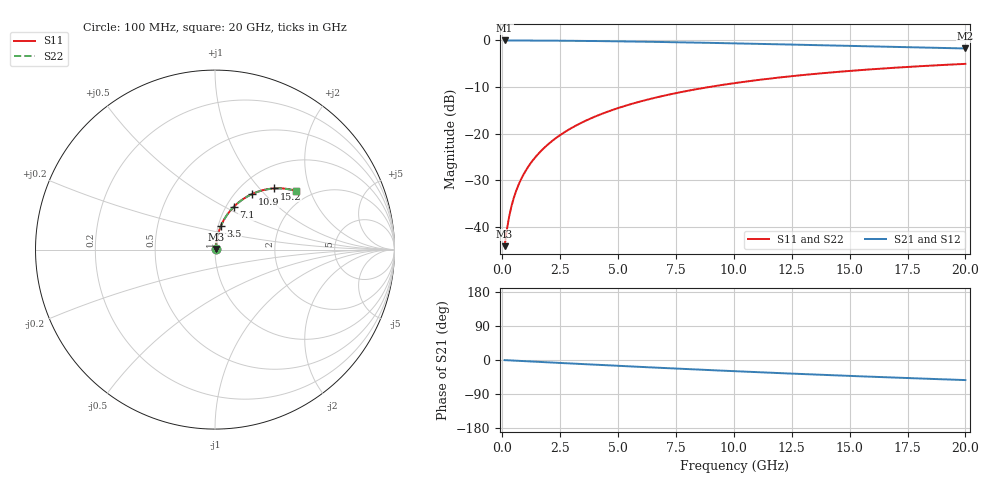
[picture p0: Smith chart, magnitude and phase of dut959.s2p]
! Touchstone file exported from HFSS 2026.1.0
!  File:  C:/ffzhzh/LocalFiles/Ansys_Project_Files/temp_train_BSMRDL_959_1783172382_51560.aedt
!  Generated:  09:40:56 PM Jul  4, 2026
!  Design:  BSMRDL
!  Project:  temp_train_BSMRDL_959_1783172382_51560
! Variables:
!  h_bsmrdl = 3.73um
!  h_ox = 20um
!  h_rdl = 5um
!  h_sub = 80um
!  h_tmrdl = 5um
!  h_tsv = 80um
!  h_via = 3um
!  l_bsmrdl = 735.88um
!  l_sub = 1135.88um
!  l_tmrdl = 200um
!  m_sub = 200um
!  pitch = 55.18um
!  r_tsv = 6um
!  s_tmrdl = 10um
!  w_bsmrdl = 15.16um
!  w_sub = 500um
!  w_tmrdl = 12um
!  x_tsv_center1 = 206um
!  x_tsv_center2 = 957.04um
!  x_tsv_center3 = 1169.04um
!  x_tsv_center4 = 1920.08um
!  x_tsv_center5 = 2132.08um
!  x_tsv_center6 = 2883.12um
# GHz S MA R 50.000000
! Terminal data exported
! Port[1] = BSM_RDL1_1_T1
! Port[2] = BSM_RDL1_1_T2
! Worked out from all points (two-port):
!   200 points, 100 MHz to 20 GHz, reference 50 ohm
!   highest |S21| = -0.04 dB at 100 MHz (marker M1); lowest = -1.8 dB at 20 GHz (marker M2)
!   |S21| within 3 dB of the highest: start of sweep to end of sweep
!   lowest |S11| = -44.2 dB at 100 MHz (marker M3), VSWR 1.01, Z = 50.5 + j0.407 ohm
!   |S11| at or under -10 dB: start of sweep to 8.963 GHz
!   |S22| runs from -44.2 to -5.1 dB; largest |S21 - S12| = 3.1e-15
!   S11 on the Smith chart (normalised r, x): 100 MHz: 1.01, +0.01; 3.5 GHz: 1.03, +0.27; 7.1 GHz: 1.08, +0.55; 10.9 GHz: 1.19, +0.85; 15.2 GHz: 1.37, +1.20; 20 GHz: 1.70, +1.61
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0.1  0.006196 40.6  0.9953 -0.3  0.9953 -0.3  0.006196 40.6
! Gamma 0 0 0 0
! Port Impedance 50 0 50 0
0.2  0.009389 58.8  0.9952 -0.6  0.9952 -0.6  0.009389 58.8
0.3  0.01302 66.9  0.995 -1.0  0.995 -1.0  0.01302 66.9
0.4  0.01676 71.3  0.9948 -1.3  0.9948 -1.3  0.01676 71.3
0.5  0.02054 73.9  0.9947 -1.6  0.9947 -1.6  0.02054 73.9
0.6  0.02432 75.6  0.9945 -1.9  0.9945 -1.9  0.02433 75.6
0.8  0.0319 77.6  0.9941 -2.5  0.9941 -2.5  0.0319 77.6
1.1  0.04329 79.1  0.9935 -3.5  0.9935 -3.5  0.04329 79.0
1.5  0.05848 79.6  0.9926 -4.7  0.9926 -4.7  0.05848 79.6
2.1  0.08122 79.1  0.9907 -6.6  0.9907 -6.6  0.08122 79.1
2.7  0.1038 78.0  0.9882 -8.4  0.9882 -8.4  0.1038 78.0
3.5  0.1335 76.2  0.9842 -10.9  0.9842 -10.9  0.1335 76.2
5  0.1875 72.2  0.9743 -15.4  0.9743 -15.4  0.1875 72.2
6.8  0.2486 67.3  0.9593 -20.6  0.9593 -20.6  0.2486 67.2
7.1  0.2584 66.4  0.9566 -21.5  0.9566 -21.5  0.2584 66.4
8.5  0.3023 62.7  0.9428 -25.4  0.9428 -25.4  0.3023 62.6
10.1  0.3491 58.5  0.9259 -29.7  0.9259 -29.7  0.3491 58.4
10.9  0.371 56.4  0.917 -31.8  0.917 -31.8  0.371 56.3
13.4  0.4336 50.3  0.8887 -38.1  0.8887 -38.1  0.4336 50.2
15.2  0.4733 46.1  0.8681 -42.4  0.8681 -42.4  0.4733 46.0
16.7  0.5029 42.7  0.8514 -45.9  0.8514 -45.9  0.5029 42.6
20  0.5583 35.8  0.8165 -53.0  0.8165 -53.0  0.5583 35.6
